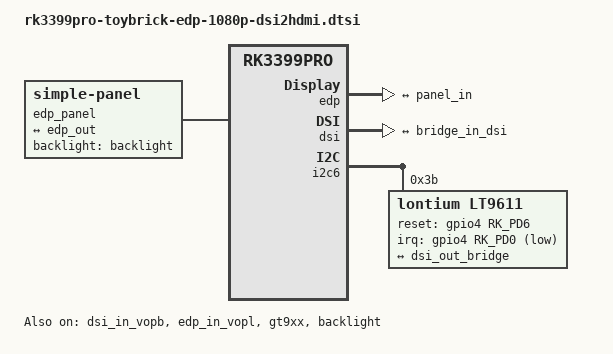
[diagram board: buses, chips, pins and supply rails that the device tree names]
/*
 * Copyright (c) 2019 Fuzhou Rockchip Electronics Co., Ltd
 *
 * This file is dual-licensed: you can use it either under the terms
 * of the GPL or the X11 license, at your option. Note that this dual
 * licensing only applies to this file, and not this project as a
 * whole.
 *
 *  a) This file is free software; you can redistribute it and/or
 *     modify it under the terms of the GNU General Public License as
 *     published by the Free Software Foundation; either version 2 of the
 *     License, or (at your option) any later version.
 *
 *     This file is distributed in the hope that it will be useful,
 *     but WITHOUT ANY WARRANTY; without even the implied warranty of
 *     MERCHANTABILITY or FITNESS FOR A PARTICULAR PURPOSE.  See the
 *     GNU General Public License for more details.
 *
 * Or, alternatively,
 *
 *  b) Permission is hereby granted, free of charge, to any person
 *     obtaining a copy of this software and associated documentation
 *     files (the "Software"), to deal in the Software without
 *     restriction, including without limitation the rights to use,
 *     copy, modify, merge, publish, distribute, sublicense, and/or
 *     sell copies of the Software, and to permit persons to whom the
 *     Software is furnished to do so, subject to the following
 *     conditions:
 *
 *     The above copyright notice and this permission notice shall be
 *     included in all copies or substantial portions of the Software.
 *
 *     THE SOFTWARE IS PROVIDED "AS IS", WITHOUT WARRANTY OF ANY KIND,
 *     EXPRESS OR IMPLIED, INCLUDING BUT NOT LIMITED TO THE WARRANTIES
 *     OF MERCHANTABILITY, FITNESS FOR A PARTICULAR PURPOSE AND
 *     NONINFRINGEMENT. IN NO EVENT SHALL THE AUTHORS OR COPYRIGHT
 *     HOLDERS BE LIABLE FOR ANY CLAIM, DAMAGES OR OTHER LIABILITY,
 *     WHETHER IN AN ACTION OF CONTRACT, TORT OR OTHERWISE, ARISING
 *     FROM, OUT OF OR IN CONNECTION WITH THE SOFTWARE OR THE USE OR
 *     OTHER DEALINGS IN THE SOFTWARE.
 */

/ {
	compatible = "rockchip,rk3399pro-toybrick-edp-1080p-dsi2hdmi", "rockchip,rk3399pro";

	edp_panel: edp_panel {
		compatible = "simple-panel";
		backlight = <&backlight>;
		prepare-delay-ms = <20>;
		enable-delay-ms = <20>;
		reset-delay-ms = <20>;

		pinctrl-names = "default";
		pinctrl-0 = <&lcd_pwren_h>;
		display-timings {
			native-mode = <&timing0>;

			timing0: timing0 {
				clock-frequency = <138000000>;
				hactive = <1920>;
				vactive = <1080>;
				hfront-porch = <32>;
				hsync-len = <48>;
				hback-porch = <160>;
				vfront-porch = <3>;
				vsync-len = <5>;
				vback-porch = <31>;
				hsync-active = <0>;
				vsync-active = <0>;
				de-active = <0>;
				pixelclk-active = <0>;
			};
		};

		ports {
			panel_in: endpoint {
				remote-endpoint = <&edp_out>;
			};
		};
	};
};

&hdmi {
    status = "disabled";
};

&edp {
	status = "okay";
	force-hpd;

	ports {
		port@1 {
			reg = <1>;

			edp_out: endpoint {
				remote-endpoint = <&panel_in>;
			};
		};
	};
};

&dsi {
	status = "okay";
	force-hpd;

	dsi,lanes = <4>;
	ports {
		dsi_out: port@1 {
			#address-cells = <1>;
			#size-cells = <0>;
			reg = <1>;
			dsi_out_bridge: endpoint {
				reg = <0>;
				remote-endpoint = <&bridge_in_dsi>;
			};
		};
	};
};

&i2c6 {
	status = "okay";
	lt9611@3b {
		status = "okay";
		compatible = "lontium,lt9611";
		reg = <0x3b>;
		pinctrl-names = "default";
		pinctrl-0 = <&lt9611_pwr>;
		reset-gpios = <&gpio4 RK_PD6 GPIO_ACTIVE_HIGH>;
		irq-gpios = <&gpio4 RK_PD0 GPIO_ACTIVE_LOW>;

		ports {
			#address-cells = <1>;
			#size-cells = <0>;

			port@0 {
				bridge_in_dsi: endpoint {
					remote-endpoint = <&dsi_out_bridge>;
				};
			};
		};
	};
};

&dsi_in_vopl {
	status = "disabled";
};

&dsi_in_vopb {
	status = "okay";
};

&edp_in_vopl {
	status = "okay";
};

&edp_in_vopb {
	status = "disabled";
};

&gt9xx {
	status = "okay";
};

&backlight {
	status = "okay";
	enable-gpios = <&gpio4 RK_PD4 GPIO_ACTIVE_HIGH>;
};
